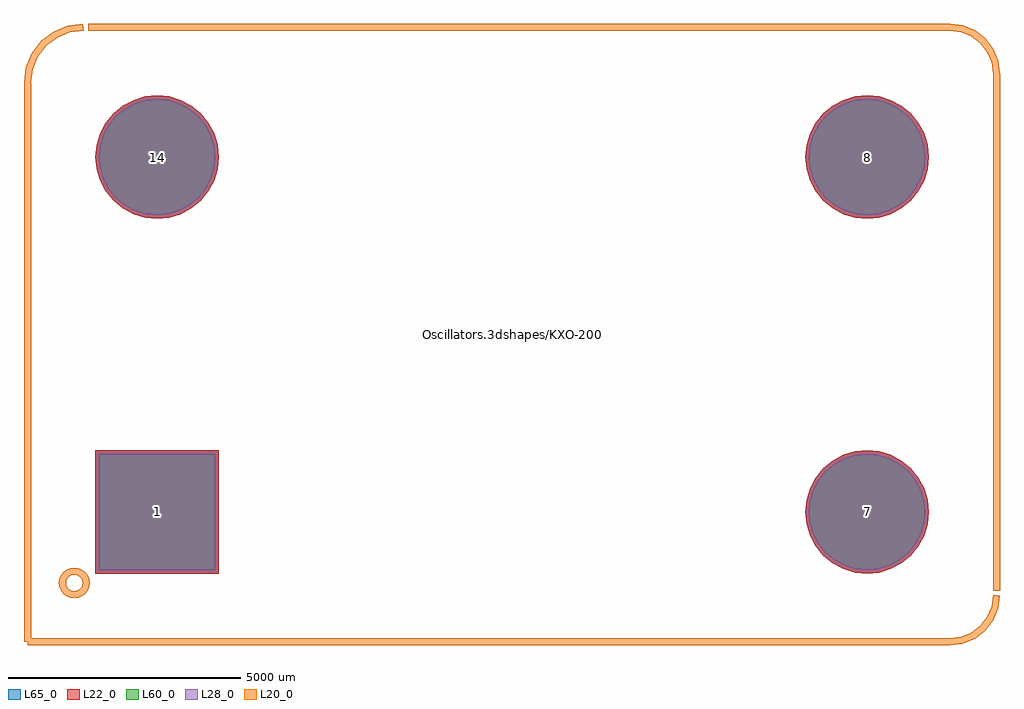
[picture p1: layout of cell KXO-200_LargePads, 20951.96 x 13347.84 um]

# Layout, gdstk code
import gdstk
lib = gdstk.Library(unit=1e-6, precision=1e-09)
def R(c, l, rs):  # rectangles x0, y0, x1, y1
    for r in rs: c.add(gdstk.rectangle(r[:2], r[2:], *l))
def P(c, l, *ps):  # polygons
    for p in ps: c.add(gdstk.Polygon(p, *l))
L20_0 = (20, 0)
L22_0 = (22, 0)
L28_0 = (28, 0)
L60_0 = (60, 0)
L65_0 = (65, 0)

kxo_200_largepads = lib.new_cell('KXO-200_LargePads')
R(kxo_200_largepads, L22_0, [(-8944.68,-5134.68,-6295.32,-2485.32)])
P(kxo_200_largepads, L22_0, [(-6295.32,3810),(-6320.773,4068.432),(-6396.155,4316.933),(-6518.569,4545.953),(-6683.31,4746.69),(-6884.047,4911.431),(-7113.067,5033.845),(-7361.568,5109.227),(-7620,5134.68),(-7878.432,5109.227),(-8126.933,5033.845),(-8355.953,4911.431),(-8556.69,4746.69),(-8721.431,4545.953),(-8843.845,4316.933),(-8919.227,4068.432),(-8944.68,3810),(-8919.227,3551.568),(-8843.845,3303.067),(-8721.431,3074.047),(-8556.69,2873.31),(-8355.953,2708.569),(-8126.933,2586.155),(-7878.432,2510.773),(-7620,2485.32),(-7361.568,2510.773),(-7113.067,2586.155),(-6884.047,2708.569),(-6683.31,2873.31),(-6518.569,3074.047),(-6396.155,3303.067),(-6320.773,3551.568)],
  [(8944.68,3810),(8919.227,4068.432),(8843.845,4316.933),(8721.431,4545.953),(8556.69,4746.69),(8355.953,4911.431),(8126.933,5033.845),(7878.432,5109.227),(7620,5134.68),(7361.568,5109.227),(7113.067,5033.845),(6884.047,4911.431),(6683.31,4746.69),(6518.569,4545.953),(6396.155,4316.933),(6320.773,4068.432),(6295.32,3810),(6320.773,3551.568),(6396.155,3303.067),(6518.569,3074.047),(6683.31,2873.31),(6884.047,2708.569),(7113.067,2586.155),(7361.568,2510.773),(7620,2485.32),(7878.432,2510.773),(8126.933,2586.155),(8355.953,2708.569),(8556.69,2873.31),(8721.431,3074.047),(8843.845,3303.067),(8919.227,3551.568)],
  [(8944.68,-3810),(8919.227,-3551.568),(8843.845,-3303.067),(8721.431,-3074.047),(8556.69,-2873.31),(8355.953,-2708.569),(8126.933,-2586.155),(7878.432,-2510.773),(7620,-2485.32),(7361.568,-2510.773),(7113.067,-2586.155),(6884.047,-2708.569),(6683.31,-2873.31),(6518.569,-3074.047),(6396.155,-3303.067),(6320.773,-3551.568),(6295.32,-3810),(6320.773,-4068.432),(6396.155,-4316.933),(6518.569,-4545.953),(6683.31,-4746.69),(6884.047,-4911.431),(7113.067,-5033.845),(7361.568,-5109.227),(7620,-5134.68),(7878.432,-5109.227),(8126.933,-5033.845),(8355.953,-4911.431),(8556.69,-4746.69),(8721.431,-4545.953),(8843.845,-4316.933),(8919.227,-4068.432)])
R(kxo_200_largepads, L28_0, [(-8869.68,-5059.68,-6370.32,-2560.32)])
P(kxo_200_largepads, L28_0, [(-6370.32,3810),(-6394.332,4053.8),(-6465.446,4288.232),(-6580.929,4504.285),(-6736.343,4693.657),(-6925.715,4849.071),(-7141.768,4964.554),(-7376.2,5035.668),(-7620,5059.68),(-7863.8,5035.668),(-8098.232,4964.554),(-8314.285,4849.071),(-8503.657,4693.657),(-8659.071,4504.285),(-8774.554,4288.232),(-8845.668,4053.8),(-8869.68,3810),(-8845.668,3566.2),(-8774.554,3331.768),(-8659.071,3115.715),(-8503.657,2926.343),(-8314.285,2770.929),(-8098.232,2655.446),(-7863.8,2584.332),(-7620,2560.32),(-7376.2,2584.332),(-7141.768,2655.446),(-6925.715,2770.929),(-6736.343,2926.343),(-6580.929,3115.715),(-6465.446,3331.768),(-6394.332,3566.2)],
  [(8869.68,3810),(8845.668,4053.8),(8774.554,4288.232),(8659.071,4504.285),(8503.657,4693.657),(8314.285,4849.071),(8098.232,4964.554),(7863.8,5035.668),(7620,5059.68),(7376.2,5035.668),(7141.768,4964.554),(6925.715,4849.071),(6736.343,4693.657),(6580.929,4504.285),(6465.446,4288.232),(6394.332,4053.8),(6370.32,3810),(6394.332,3566.2),(6465.446,3331.768),(6580.929,3115.715),(6736.343,2926.343),(6925.715,2770.929),(7141.768,2655.446),(7376.2,2584.332),(7620,2560.32),(7863.8,2584.332),(8098.232,2655.446),(8314.285,2770.929),(8503.657,2926.343),(8659.071,3115.715),(8774.554,3331.768),(8845.668,3566.2)],
  [(8869.68,-3810),(8845.668,-3566.2),(8774.554,-3331.768),(8659.071,-3115.715),(8503.657,-2926.343),(8314.285,-2770.929),(8098.232,-2655.446),(7863.8,-2584.332),(7620,-2560.32),(7376.2,-2584.332),(7141.768,-2655.446),(6925.715,-2770.929),(6736.343,-2926.343),(6580.929,-3115.715),(6465.446,-3331.768),(6394.332,-3566.2),(6370.32,-3810),(6394.332,-4053.8),(6465.446,-4288.232),(6580.929,-4504.285),(6736.343,-4693.657),(6925.715,-4849.071),(7141.768,-4964.554),(7376.2,-5035.668),(7620,-5059.68),(7863.8,-5035.668),(8098.232,-4964.554),(8314.285,-4849.071),(8503.657,-4693.657),(8659.071,-4504.285),(8774.554,-4288.232),(8845.668,-4053.8)])
R(kxo_200_largepads, L60_0, [(-8869.68,-5059.68,-6370.32,-2560.32)])
P(kxo_200_largepads, L60_0, [(-6370.32,3810),(-6394.332,4053.8),(-6465.446,4288.232),(-6580.929,4504.285),(-6736.343,4693.657),(-6925.715,4849.071),(-7141.768,4964.554),(-7376.2,5035.668),(-7620,5059.68),(-7863.8,5035.668),(-8098.232,4964.554),(-8314.285,4849.071),(-8503.657,4693.657),(-8659.071,4504.285),(-8774.554,4288.232),(-8845.668,4053.8),(-8869.68,3810),(-8845.668,3566.2),(-8774.554,3331.768),(-8659.071,3115.715),(-8503.657,2926.343),(-8314.285,2770.929),(-8098.232,2655.446),(-7863.8,2584.332),(-7620,2560.32),(-7376.2,2584.332),(-7141.768,2655.446),(-6925.715,2770.929),(-6736.343,2926.343),(-6580.929,3115.715),(-6465.446,3331.768),(-6394.332,3566.2)],
  [(8869.68,3810),(8845.668,4053.8),(8774.554,4288.232),(8659.071,4504.285),(8503.657,4693.657),(8314.285,4849.071),(8098.232,4964.554),(7863.8,5035.668),(7620,5059.68),(7376.2,5035.668),(7141.768,4964.554),(6925.715,4849.071),(6736.343,4693.657),(6580.929,4504.285),(6465.446,4288.232),(6394.332,4053.8),(6370.32,3810),(6394.332,3566.2),(6465.446,3331.768),(6580.929,3115.715),(6736.343,2926.343),(6925.715,2770.929),(7141.768,2655.446),(7376.2,2584.332),(7620,2560.32),(7863.8,2584.332),(8098.232,2655.446),(8314.285,2770.929),(8503.657,2926.343),(8659.071,3115.715),(8774.554,3331.768),(8845.668,3566.2)],
  [(8869.68,-3810),(8845.668,-3566.2),(8774.554,-3331.768),(8659.071,-3115.715),(8503.657,-2926.343),(8314.285,-2770.929),(8098.232,-2655.446),(7863.8,-2584.332),(7620,-2560.32),(7376.2,-2584.332),(7141.768,-2655.446),(6925.715,-2770.929),(6736.343,-2926.343),(6580.929,-3115.715),(6465.446,-3331.768),(6394.332,-3566.2),(6370.32,-3810),(6394.332,-4053.8),(6465.446,-4288.232),(6580.929,-4504.285),(6736.343,-4693.657),(6925.715,-4849.071),(7141.768,-4964.554),(7376.2,-5035.668),(7620,-5059.68),(7863.8,-5035.668),(8098.232,-4964.554),(8314.285,-4849.071),(8503.657,-4693.657),(8659.071,-4504.285),(8774.554,-4288.232),(8845.668,-4053.8)])
R(kxo_200_largepads, L65_0, [(-8944.68,-5134.68,-6295.32,-2485.32)])
P(kxo_200_largepads, L65_0, [(-6295.32,3810),(-6320.773,4068.432),(-6396.155,4316.933),(-6518.569,4545.953),(-6683.31,4746.69),(-6884.047,4911.431),(-7113.067,5033.845),(-7361.568,5109.227),(-7620,5134.68),(-7878.432,5109.227),(-8126.933,5033.845),(-8355.953,4911.431),(-8556.69,4746.69),(-8721.431,4545.953),(-8843.845,4316.933),(-8919.227,4068.432),(-8944.68,3810),(-8919.227,3551.568),(-8843.845,3303.067),(-8721.431,3074.047),(-8556.69,2873.31),(-8355.953,2708.569),(-8126.933,2586.155),(-7878.432,2510.773),(-7620,2485.32),(-7361.568,2510.773),(-7113.067,2586.155),(-6884.047,2708.569),(-6683.31,2873.31),(-6518.569,3074.047),(-6396.155,3303.067),(-6320.773,3551.568)],
  [(8944.68,3810),(8919.227,4068.432),(8843.845,4316.933),(8721.431,4545.953),(8556.69,4746.69),(8355.953,4911.431),(8126.933,5033.845),(7878.432,5109.227),(7620,5134.68),(7361.568,5109.227),(7113.067,5033.845),(6884.047,4911.431),(6683.31,4746.69),(6518.569,4545.953),(6396.155,4316.933),(6320.773,4068.432),(6295.32,3810),(6320.773,3551.568),(6396.155,3303.067),(6518.569,3074.047),(6683.31,2873.31),(6884.047,2708.569),(7113.067,2586.155),(7361.568,2510.773),(7620,2485.32),(7878.432,2510.773),(8126.933,2586.155),(8355.953,2708.569),(8556.69,2873.31),(8721.431,3074.047),(8843.845,3303.067),(8919.227,3551.568)],
  [(8944.68,-3810),(8919.227,-3551.568),(8843.845,-3303.067),(8721.431,-3074.047),(8556.69,-2873.31),(8355.953,-2708.569),(8126.933,-2586.155),(7878.432,-2510.773),(7620,-2485.32),(7361.568,-2510.773),(7113.067,-2586.155),(6884.047,-2708.569),(6683.31,-2873.31),(6518.569,-3074.047),(6396.155,-3303.067),(6320.773,-3551.568),(6295.32,-3810),(6320.773,-4068.432),(6396.155,-4316.933),(6518.569,-4545.953),(6683.31,-4746.69),(6884.047,-4911.431),(7113.067,-5033.845),(7361.568,-5109.227),(7620,-5134.68),(7878.432,-5109.227),(8126.933,-5033.845),(8355.953,-4911.431),(8556.69,-4746.69),(8721.431,-4545.953),(8843.845,-4316.933),(8919.227,-4068.432)])
kxo_200_largepads.add(gdstk.FlexPath([(9400.54,-6598.92),(9658.898,-6564.906),(9899.65,-6465.184),(10106.388,-6306.548),(10265.024,-6099.81),(10364.746,-5859.058),(10398.76,-5600.7)], 149.998, ends="flush", simple_path=True, layer=20, datatype=0))  # L20_0
kxo_200_largepads.add(gdstk.FlexPath([(-9204.96,6598.92),(-9515.253,6558.069),(-9804.4,6438.301),(-10052.696,6247.776),(-10243.221,5999.48),(-10362.989,5710.333),(-10403.84,5400.04)], 149.998, ends="flush", simple_path=True, layer=20, datatype=0))  # L20_0
kxo_200_largepads.add(gdstk.FlexPath([(10398.76,5600.7),(10364.746,5859.058),(10265.024,6099.81),(10106.388,6306.548),(9899.65,6465.184),(9658.898,6564.906),(9400.54,6598.92)], 149.998, ends="flush", simple_path=True, layer=20, datatype=0))  # L20_0
kxo_200_largepads.add(gdstk.FlexPath([(-9100.82,6598.92),(9400.54,6598.92)], 149.998, ends="flush", simple_path=True, layer=20, datatype=0))  # L20_0
kxo_200_largepads.add(gdstk.FlexPath([(10398.76,5600.7),(10398.76,-5499.1)], 149.998, ends="flush", simple_path=True, layer=20, datatype=0))  # L20_0
kxo_200_largepads.add(gdstk.FlexPath([(9400.54,-6598.92),(-10398.76,-6598.92)], 149.998, ends="flush", simple_path=True, layer=20, datatype=0))  # L20_0
kxo_200_largepads.add(gdstk.FlexPath([(-10398.76,5400.04),(-10398.76,-6598.92)], 149.998, ends="flush", simple_path=True, layer=20, datatype=0))  # L20_0
kxo_200_largepads.add(gdstk.FlexPath([(-9398,-5588),(-9332.26,-5579.345),(-9271,-5553.97),(-9218.395,-5513.605),(-9178.03,-5461),(-9152.655,-5399.74),(-9144,-5334),(-9152.655,-5268.26),(-9178.03,-5207),(-9218.395,-5154.395),(-9271,-5114.03),(-9332.26,-5088.655),(-9398,-5080),(-9463.74,-5088.655),(-9525,-5114.03),(-9577.605,-5154.395),(-9617.97,-5207),(-9643.345,-5268.26),(-9652,-5334),(-9643.345,-5399.74),(-9617.97,-5461),(-9577.605,-5513.605),(-9525,-5553.97),(-9463.74,-5579.345),(-9398,-5588)], 149.998, ends="flush", simple_path=True, layer=20, datatype=0))  # L20_0
kxo_200_largepads.add(gdstk.Label('Oscillators.3dshapes/KXO-200_LargePads.wrl', (0,0), layer=12, texttype=0))
kxo_200_largepads.add(gdstk.Label('14', (-7620,3810), layer=28, texttype=0))
kxo_200_largepads.add(gdstk.Label('8', (7620,3810), layer=28, texttype=0))
kxo_200_largepads.add(gdstk.Label('7', (7620,-3810), layer=28, texttype=0))
kxo_200_largepads.add(gdstk.Label('1', (-7620,-3810), layer=28, texttype=0))
kxo_200_largepads.add(gdstk.Label('type', (0,-8636), layer=9, texttype=0))
kxo_200_largepads.add(gdstk.Label('devicename', (-254,8636), layer=9, texttype=0))

lib.write_gds('KXO-200_LargePads.gds')
